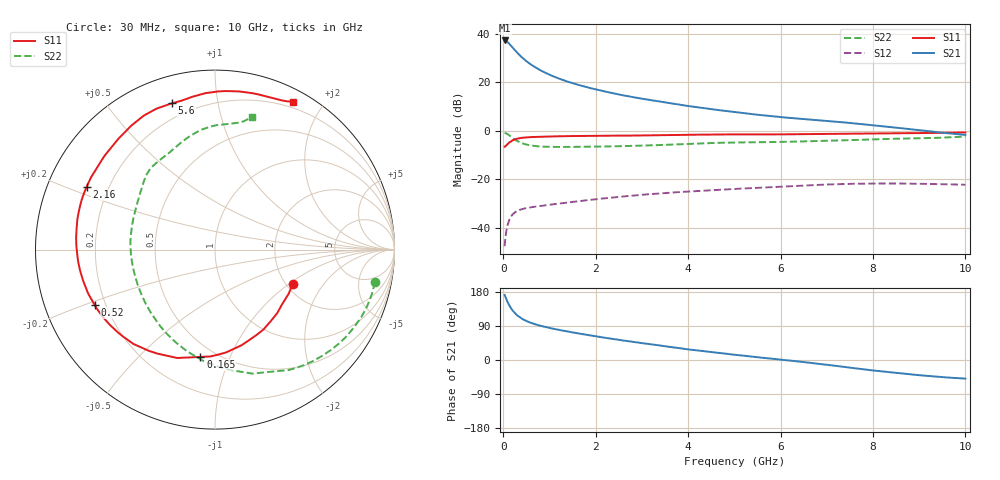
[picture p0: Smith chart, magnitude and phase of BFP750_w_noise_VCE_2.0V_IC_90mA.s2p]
! Infineon Technologies  Discrete & RF Semiconductors
! BFP750
! VCE =  2.0 V,  IC =  90 mA
! Common Emitter S-Parameters:  Jan 2016
# GHz  S  MA  R  50
!  f  S11  S21  S12  S22
! GHz  MAG  ANG  MAG  ANG  MAG  ANG  MAG  ANG
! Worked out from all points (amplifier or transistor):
!   229 points, 30 MHz to 10 GHz, reference 50 ohm
!   highest |S21| = 37.3 dB at 30 MHz (marker M1)
!   |S21| within 3 dB of that: start of sweep to 206 MHz
!   unconditionally stable (mu >= 1): 3.048 GHz to end of sweep
!   at 280 MHz: K = 0.23, MSG = 33.0 dB, |S12| = -33.3 dB
!   at 1.78 GHz: K = 0.81, MSG = 23.4 dB, |S12| = -28.7 dB
!   at 10 GHz: K = 1.06, MAG = 8.8 dB, |S12| = -22.2 dB
!   lowest NFmin = 1.47 dB at 450 MHz
!   S11 on the Smith chart (normalised r, x): 30 MHz: 2.16, -1.08; 165 MHz: 0.42, -0.78; 520 MHz: 0.16, -0.21; 2.16 GHz: 0.12, +0.23; 5.6 GHz: 0.13, +0.74; 10 GHz: 0.13, +1.65
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0.03  0.4741 -24.0  73.56 171.6  0.0042 76.1  0.9094 -11.5
0.05  0.4821 -39.1  72.86 165.1  0.0066 74.3  0.9044 -20.5
0.07  0.506 -52.4  70.96 159.3  0.0089 68.7  0.8878 -29.0
0.1  0.5411 -70.1  67.23 151.4  0.012 62.8  0.8539 -41.0
0.135  0.5809 -86.3  62.09 143.3  0.015 56.7  0.8067 -53.7
0.165  0.6035 -97.7  57.71 137.5  0.0169 52.1  0.7617 -62.7
0.2  0.6395 -109.2  52.85 130.8  0.0189 47.5  0.7213 -73.3
0.24  0.6619 -118.8  47.88 125.3  0.0204 43.3  0.6751 -83.0
0.3  0.6948 -130.8  41.33 117.9  0.0223 38.8  0.6231 -96.1
0.4  0.7205 -144.4  33.24 109.2  0.0243 33.9  0.562 -112.7
0.52  0.738 -155.3  26.69 102.0  0.0258 30.8  0.5192 -127.3
0.7  0.7546 -166.5  20.3 94.0  0.0275 28.7  0.488 -143.1
1  0.7688 -178.6  14.43 84.6  0.03 28.0  0.4703 -159.9
1.3  0.7787 172.7  11.16 77.2  0.0325 28.2  0.4675 -171.0
1.7  0.7891 163.3  8.531 68.6  0.0362 28.3  0.4713 178.0
2.16  0.7962 154.0  6.647 59.5  0.0404 27.5  0.4773 167.9
3.4  0.8155 132.7  4.005 38.0  0.0517 22.2  0.5126 146.1
5.1  0.8495 111.5  2.394 12.7  0.0643 12.2  0.5799 127.0
5.6  0.8492 106.3  2.113 6.0  0.0678 8.9  0.5867 121.2
6.8  0.8676 95.4  1.67 -9.6  0.0769 -0.1  0.6186 109.2
8.4  0.8957 76.7  1.196 -32.8  0.0825 -15.7  0.6877 91.5
10  0.9303 62.2  0.829 -49.1  0.0778 -27.6  0.7658 74.6
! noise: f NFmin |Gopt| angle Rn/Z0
0.45  1.47  0.31  -169  0.33
0.9  1.48  0.4  -164  0.16
1.5  1.49  0.49  -154  0.09
1.9  1.49  0.5  -149  0.1
2.4  1.5  0.5  -142  0.12
3.5  1.74  0.51  -125  0.17
